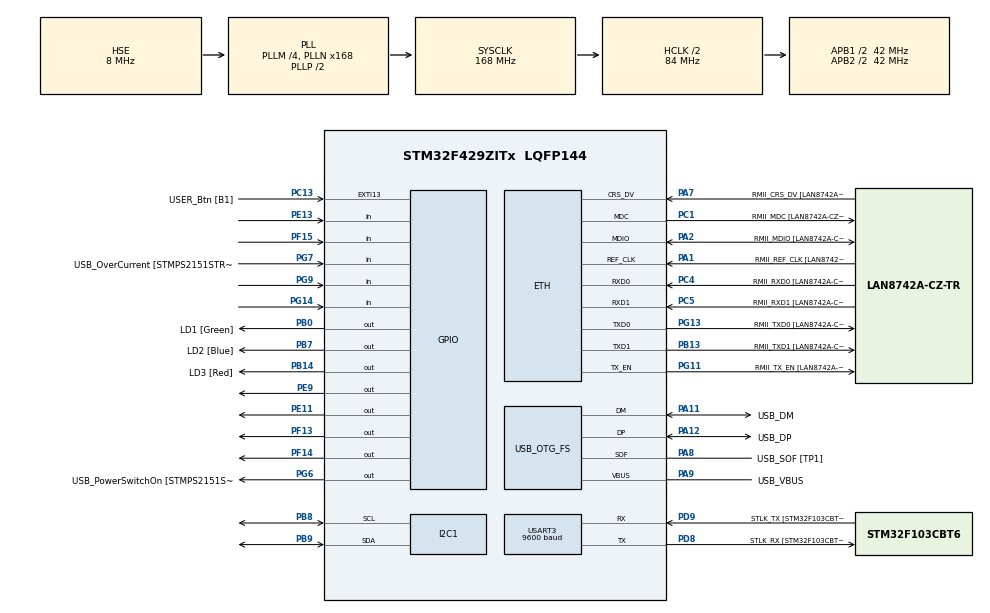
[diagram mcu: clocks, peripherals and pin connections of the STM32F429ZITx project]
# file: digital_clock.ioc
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ETH.MediaInterface=HAL_ETH_RMII_MODE
ETH.PHY_Name=LAN8742A_PHY_ADDRESS
ETH.PHY_Value=0
ETH.PhyAddress=0
Mcu.Family=STM32F4
Mcu.Name=STM32F429ZITx
Mcu.Package=LQFP144
NVIC.PriorityGroup=NVIC_PRIORITYGROUP_4
PA1.GPIO_Label=RMII_REF_CLK [LAN8742A-CZ-TR_REFCLK0]
PA1.Mode=RMII
PA1.Signal=ETH_REF_CLK
PA10.GPIO_Label=USB_ID
PA10.Signal=USB_OTG_FS_ID
PA11.GPIO_Label=USB_DM
PA11.Mode=Device_Only
PA11.Signal=USB_OTG_FS_DM
PA12.GPIO_Label=USB_DP
PA12.Mode=Device_Only
PA12.Signal=USB_OTG_FS_DP
PA13.GPIO_Label=TMS
PA13.Mode=Serial_Wire
PA13.Signal=SYS_JTMS-SWDIO
PA14.GPIO_Label=TCK
PA14.Mode=Serial_Wire
PA14.Signal=SYS_JTCK-SWCLK
PA2.GPIO_Label=RMII_MDIO [LAN8742A-CZ-TR_MDIO]
PA2.Mode=RMII
PA2.Signal=ETH_MDIO
PA7.GPIO_Label=RMII_CRS_DV [LAN8742A-CZ-TR_CRS_DV]
PA7.Mode=RMII
PA7.Signal=ETH_CRS_DV
PA8.GPIO_Label=USB_SOF [TP1]
PA8.Mode=Activate_SOF_FS
PA8.Signal=USB_OTG_FS_SOF
PA9.GPIO_Label=USB_VBUS
PA9.Mode=Activate_VBUS
PA9.Signal=USB_OTG_FS_VBUS
PB0.GPIO_Label=LD1 [Green]
PB0.Signal=GPIO_Output
PB13.GPIO_Label=RMII_TXD1 [LAN8742A-CZ-TR_TXD1]
PB13.Mode=RMII
PB13.Signal=ETH_TXD1
PB14.GPIO_Label=LD3 [Red]
PB14.Signal=GPIO_Output
PB7.GPIO_Label=LD2 [Blue]
PB7.Signal=GPIO_Output
PB8.Mode=I2C
PB8.Signal=I2C1_SCL
PB9.Mode=I2C
PB9.Signal=I2C1_SDA
PC1.GPIO_Label=RMII_MDC [LAN8742A-CZ-TR_MDC]
PC1.Mode=RMII
PC1.Signal=ETH_MDC
PC13.GPIO_Label=USER_Btn [B1]
PC13.Signal=GPXTI13
PC14/OSC32_IN.Signal=RCC_OSC32_IN
PC15/OSC32_OUT.Signal=RCC_OSC32_OUT
PC4.GPIO_Label=RMII_RXD0 [LAN8742A-CZ-TR_RXD0]
PC4.Mode=RMII
PC4.Signal=ETH_RXD0
PC5.GPIO_Label=RMII_RXD1 [LAN8742A-CZ-TR_RXD1]
PC5.Mode=RMII
PC5.Signal=ETH_RXD1
PD8.GPIO_Label=STLK_RX [STM32F103CBT6_PA3]
PD8.Mode=Asynchronous
PD8.Signal=USART3_TX
PD9.GPIO_Label=STLK_TX [STM32F103CBT6_PA2]
PD9.Mode=Asynchronous
PD9.Signal=USART3_RX
PE11.Signal=GPIO_Output
PE13.GPIO_PuPd=GPIO_PULLDOWN
PE13.Signal=GPIO_Input
PE9.Signal=GPIO_Output
PF13.Signal=GPIO_Output
PF14.Signal=GPIO_Output
PF15.GPIO_PuPd=GPIO_PULLDOWN
PF15.Signal=GPIO_Input
PG11.GPIO_Label=RMII_TX_EN [LAN8742A-CZ-TR_TXEN]
PG11.Mode=RMII
PG11.Signal=ETH_TX_EN
PG13.GPIO_Label=RMII_TXD0 [LAN8742A-CZ-TR_TXD0]
PG13.Mode=RMII
PG13.Signal=ETH_TXD0
PG14.GPIO_PuPd=GPIO_PULLDOWN
PG14.Signal=GPIO_Input
PG6.GPIO_Label=USB_PowerSwitchOn [STMPS2151STR_EN]
PG6.Signal=GPIO_Output
PG7.GPIO_Label=USB_OverCurrent [STMPS2151STR_FAULT]
PG7.Signal=GPIO_Input
PG9.GPIO_PuPd=GPIO_PULLDOWN
PG9.Signal=GPIO_Input
PH0/OSC_IN.GPIO_Label=MCO [STM32F103CBT6_PA8]
PH0/OSC_IN.Mode=HSE-External-Oscillator
PH0/OSC_IN.Signal=RCC_OSC_IN
PH1/OSC_OUT.Mode=HSE-External-Oscillator
PH1/OSC_OUT.Signal=RCC_OSC_OUT
ProjectManager.HeapSize=0x200
ProjectManager.StackSize=0x400
ProjectManager.TargetToolchain=STM32CubeIDE
RCC.48MHZClocksFreq_Value=48000000
RCC.AHBCLKDivider=RCC_SYSCLK_DIV2
RCC.AHBFreq_Value=84000000
RCC.APB1CLKDivider=RCC_HCLK_DIV2
RCC.APB1Freq_Value=42000000
RCC.APB1TimFreq_Value=84000000
RCC.APB2CLKDivider=RCC_HCLK_DIV2
RCC.APB2Freq_Value=42000000
RCC.APB2TimFreq_Value=84000000
RCC.CortexFreq_Value=84000000
RCC.HCLKFreq_Value=84000000
RCC.HSE_VALUE=8000000
RCC.HSI_VALUE=16000000
RCC.LSE_VALUE=32768
RCC.PLLM=4
RCC.PLLMUL=RCC_PLL_MUL9
RCC.PLLN=168
RCC.PLLQ=7
RCC.PRESCALERUSB=RCC_USBCLKSOURCE_PLL_DIV1_5
RCC.SYSCLKFreq_VALUE=168000000
RCC.SYSCLKSource=RCC_SYSCLKSOURCE_PLLCLK
RCC.SYSCLKSourceVirtual=RCC_SYSCLKSOURCE_PLLCLK
RCC.USBFreq_Value=48000000
RCC.VCOOutputFreq_Value=336000000
USART3.BaudRate=9600
USART3.VirtualMode=VM_ASYNC
USB_OTG_FS.VirtualMode=Device_Only
board=NUCLEO-F429ZI

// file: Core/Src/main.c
/* USER CODE BEGIN Header */
/**
  ******************************************************************************
  * @file           : main.c
  * @brief          : Main program body
  ******************************************************************************
  * @attention
  *
  * Copyright (c) 2024 STMicroelectronics.
  * All rights reserved.
  *
  * This software is licensed under terms that can be found in the LICENSE file
  * in the root directory of this software component.
  * If no LICENSE file comes with this software, it is provided AS-IS.
  *
  ******************************************************************************
  */
/* USER CODE END Header */
#include <keypad/inc/keypad.h>
#include "main.h"
#include "string.h"

/* USER CODE BEGIN Includes */
#include "LCD.h"
#include "RTC.h"
#include <stdio.h>
/* USER CODE END Includes */

/* USER CODE BEGIN PD */
#define TIME_DIGITS_LENGTH 6
#define DATE_DIGITS_LENGTH 6
/* USER CODE END PD */

ETH_TxPacketConfig TxConfig;
ETH_DMADescTypeDef  DMARxDscrTab[ETH_RX_DESC_CNT]; /* Ethernet Rx DMA Descriptors */
ETH_DMADescTypeDef  DMATxDscrTab[ETH_TX_DESC_CNT]; /* Ethernet Tx DMA Descriptors */

ETH_HandleTypeDef heth;

I2C_HandleTypeDef hi2c1;

UART_HandleTypeDef huart3;

PCD_HandleTypeDef hpcd_USB_OTG_FS;

/* USER CODE BEGIN PV */
static const tick_t ADJUST_TIMEOUT = 60000; // wait a minute
/* USER CODE END PV */

void SystemClock_Config(void);
static void MX_GPIO_Init(void);
static void MX_ETH_Init(void);
static void MX_USART3_UART_Init(void);
static void MX_USB_OTG_FS_PCD_Init(void);
static void MX_I2C1_Init(void);
/* USER CODE BEGIN PFP */
static time_adjust_t get_time_from_keypad(datetime_data_t *);
static void display_datetime(datetime_data_t*);
static bool_t display_config_datetime(datetime_data_t *datetime, uint8_t key);
static void move_cursor_backward(uint8_t *cursor_x, uint8_t *cursor_y, size_t max_positions);
static void move_cursor_forward(uint8_t *cursor_x, uint8_t *cursor_y, size_t max_positions);
/* USER CODE END PFP */

int main(void)
{

  /* MCU Configuration--------------------------------------------------------*/

  /* Reset of all peripherals, Initializes the Flash interface and the Systick. */
  HAL_Init();

  /* Configure the system clock */
  SystemClock_Config();

  /* Initialize all configured peripherals */
  MX_GPIO_Init();
  MX_ETH_Init();
  MX_USART3_UART_Init();
  MX_USB_OTG_FS_PCD_Init();
  MX_I2C1_Init();
  /* USER CODE BEGIN 2 */
  keyboard_hw_t keyboard_hw = {
    {GPIOF, GPIO_PIN_13}, // L1
    {GPIOE, GPIO_PIN_9},  // L2
    {GPIOE, GPIO_PIN_11}, // L3
    {GPIOF, GPIO_PIN_14}, // L4
    {GPIOE, GPIO_PIN_13}, // C1
    {GPIOF, GPIO_PIN_15}, // C2
    {GPIOG, GPIO_PIN_14}, // C3
    {GPIOG, GPIO_PIN_9}   // C4
  };

  keypad_init(keyboard_hw);
  LCD_init(&hi2c1);
  RTC_init(&hi2c1);
  // FSM Initialization
  enum state_t { READ_TIME, DISPLAY_TIME, WAIT_FOR_INPUT, ADJUST_TIME, SAVE_TIME } state = READ_TIME;
  uint8_t key_pressed = '\0';
  datetime_data_t current_datetime = { 0 };
  time_adjust_t adjust_state = TIMEOUT_REACHED;
  /* USER CODE END 2 */

  /* Infinite loop */
  /* USER CODE BEGIN WHILE */
  while (1)
  {
	  keypad_update();

    switch (state) {
      case READ_TIME:
         RTC_read(&current_datetime);
         state = DISPLAY_TIME;
         break;
      case DISPLAY_TIME:
          display_datetime(&current_datetime);
          state = WAIT_FOR_INPUT;
          break;
      case WAIT_FOR_INPUT:
          key_pressed = keypad_get_key();
          state = key_pressed == 'A' ? ADJUST_TIME : READ_TIME;
          break;
      case ADJUST_TIME:
          // trae la hora desde el teclado- mestra la pantalla de ajuste
          adjust_state = get_time_from_keypad(&current_datetime);
          if (adjust_state == READY_FOR_SAVE)
            state = SAVE_TIME;
          else if (adjust_state == ADJUSTING)
            state = ADJUST_TIME;
          else
            state = READ_TIME;
          break;
      case SAVE_TIME:
          RTC_set(&current_datetime);
          state = READ_TIME;
          break;
      default:
          state = READ_TIME;
          break;
    }

    /* USER CODE END WHILE */

  }
}

void SystemClock_Config(void)
{
  RCC_OscInitTypeDef RCC_OscInitStruct = {0};
  RCC_ClkInitTypeDef RCC_ClkInitStruct = {0};

  /** Configure the main internal regulator output voltage
  */
  __HAL_RCC_PWR_CLK_ENABLE();
  __HAL_PWR_VOLTAGESCALING_CONFIG(PWR_REGULATOR_VOLTAGE_SCALE3);

  /** Initializes the RCC Oscillators according to the specified parameters
  * in the RCC_OscInitTypeDef structure.
  */
  RCC_OscInitStruct.OscillatorType = RCC_OSCILLATORTYPE_HSE;
  RCC_OscInitStruct.HSEState = RCC_HSE_ON;
  RCC_OscInitStruct.PLL.PLLState = RCC_PLL_ON;
  RCC_OscInitStruct.PLL.PLLSource = RCC_PLLSOURCE_HSE;
  RCC_OscInitStruct.PLL.PLLM = 4;
  RCC_OscInitStruct.PLL.PLLN = 168;
  RCC_OscInitStruct.PLL.PLLP = RCC_PLLP_DIV2;
  RCC_OscInitStruct.PLL.PLLQ = 7;
  if (HAL_RCC_OscConfig(&RCC_OscInitStruct) != HAL_OK)
  {
    Error_Handler();
  }

  /** Initializes the CPU, AHB and APB buses clocks
  */
  RCC_ClkInitStruct.ClockType = RCC_CLOCKTYPE_HCLK|RCC_CLOCKTYPE_SYSCLK
                              |RCC_CLOCKTYPE_PCLK1|RCC_CLOCKTYPE_PCLK2;
  RCC_ClkInitStruct.SYSCLKSource = RCC_SYSCLKSOURCE_PLLCLK;
  RCC_ClkInitStruct.AHBCLKDivider = RCC_SYSCLK_DIV2;
  RCC_ClkInitStruct.APB1CLKDivider = RCC_HCLK_DIV2;
  RCC_ClkInitStruct.APB2CLKDivider = RCC_HCLK_DIV2;

  if (HAL_RCC_ClockConfig(&RCC_ClkInitStruct, FLASH_LATENCY_2) != HAL_OK)
  {
    Error_Handler();
  }
}

static void MX_ETH_Init(void)
{

   static uint8_t MACAddr[6];

  heth.Instance = ETH;
  MACAddr[0] = 0x00;
  MACAddr[1] = 0x80;
  MACAddr[2] = 0xE1;
  MACAddr[3] = 0x00;
  MACAddr[4] = 0x00;
  MACAddr[5] = 0x00;
  heth.Init.MACAddr = &MACAddr[0];
  heth.Init.MediaInterface = HAL_ETH_RMII_MODE;
  heth.Init.TxDesc = DMATxDscrTab;
  heth.Init.RxDesc = DMARxDscrTab;
  heth.Init.RxBuffLen = 1524;

  if (HAL_ETH_Init(&heth) != HAL_OK)
  {
    Error_Handler();
  }

  memset(&TxConfig, 0 , sizeof(ETH_TxPacketConfig));
  TxConfig.Attributes = ETH_TX_PACKETS_FEATURES_CSUM | ETH_TX_PACKETS_FEATURES_CRCPAD;
  TxConfig.ChecksumCtrl = ETH_CHECKSUM_IPHDR_PAYLOAD_INSERT_PHDR_CALC;
  TxConfig.CRCPadCtrl = ETH_CRC_PAD_INSERT;

}

static void MX_I2C1_Init(void)
{

  hi2c1.Instance = I2C1;
  hi2c1.Init.ClockSpeed = 100000;
  hi2c1.Init.DutyCycle = I2C_DUTYCYCLE_2;
  hi2c1.Init.OwnAddress1 = 0;
  hi2c1.Init.AddressingMode = I2C_ADDRESSINGMODE_7BIT;
  hi2c1.Init.DualAddressMode = I2C_DUALADDRESS_DISABLE;
  hi2c1.Init.OwnAddress2 = 0;
  hi2c1.Init.GeneralCallMode = I2C_GENERALCALL_DISABLE;
  hi2c1.Init.NoStretchMode = I2C_NOSTRETCH_DISABLE;
  if (HAL_I2C_Init(&hi2c1) != HAL_OK)
  {
    Error_Handler();
  }

  /** Configure Analogue filter
  */
  if (HAL_I2CEx_ConfigAnalogFilter(&hi2c1, I2C_ANALOGFILTER_ENABLE) != HAL_OK)
  {
    Error_Handler();
  }

  /** Configure Digital filter
  */
  if (HAL_I2CEx_ConfigDigitalFilter(&hi2c1, 0) != HAL_OK)
  {
    Error_Handler();
  }

}

static void MX_USART3_UART_Init(void)
{

  huart3.Instance = USART3;
  huart3.Init.BaudRate = 9600;
  huart3.Init.WordLength = UART_WORDLENGTH_8B;
  huart3.Init.StopBits = UART_STOPBITS_1;
  huart3.Init.Parity = UART_PARITY_NONE;
  huart3.Init.Mode = UART_MODE_TX_RX;
  huart3.Init.HwFlowCtl = UART_HWCONTROL_NONE;
  huart3.Init.OverSampling = UART_OVERSAMPLING_16;
  if (HAL_UART_Init(&huart3) != HAL_OK)
  {
    Error_Handler();
  }

}

static void MX_USB_OTG_FS_PCD_Init(void)
{

  hpcd_USB_OTG_FS.Instance = USB_OTG_FS;
  hpcd_USB_OTG_FS.Init.dev_endpoints = 4;
  hpcd_USB_OTG_FS.Init.speed = PCD_SPEED_FULL;
  hpcd_USB_OTG_FS.Init.dma_enable = DISABLE;
  hpcd_USB_OTG_FS.Init.phy_itface = PCD_PHY_EMBEDDED;
  hpcd_USB_OTG_FS.Init.Sof_enable = ENABLE;
  hpcd_USB_OTG_FS.Init.low_power_enable = DISABLE;
  hpcd_USB_OTG_FS.Init.lpm_enable = DISABLE;
  hpcd_USB_OTG_FS.Init.vbus_sensing_enable = ENABLE;
  hpcd_USB_OTG_FS.Init.use_dedicated_ep1 = DISABLE;
  if (HAL_PCD_Init(&hpcd_USB_OTG_FS) != HAL_OK)
  {
    Error_Handler();
  }

}

static void MX_GPIO_Init(void)
{
  GPIO_InitTypeDef GPIO_InitStruct = {0};

  /* GPIO Ports Clock Enable */
  __HAL_RCC_GPIOC_CLK_ENABLE();
  __HAL_RCC_GPIOH_CLK_ENABLE();
  __HAL_RCC_GPIOA_CLK_ENABLE();
  __HAL_RCC_GPIOB_CLK_ENABLE();
  __HAL_RCC_GPIOF_CLK_ENABLE();
  __HAL_RCC_GPIOE_CLK_ENABLE();
  __HAL_RCC_GPIOD_CLK_ENABLE();
  __HAL_RCC_GPIOG_CLK_ENABLE();

  /*Configure GPIO pin Output Level */
  HAL_GPIO_WritePin(GPIOB, LD1_Pin|LD3_Pin|LD2_Pin, GPIO_PIN_RESET);

  /*Configure GPIO pin Output Level */
  HAL_GPIO_WritePin(GPIOF, GPIO_PIN_13|GPIO_PIN_14, GPIO_PIN_RESET);

  /*Configure GPIO pin Output Level */
  HAL_GPIO_WritePin(GPIOE, GPIO_PIN_9|GPIO_PIN_11, GPIO_PIN_RESET);

  /*Configure GPIO pin Output Level */
  HAL_GPIO_WritePin(USB_PowerSwitchOn_GPIO_Port, USB_PowerSwitchOn_Pin, GPIO_PIN_RESET);

  /*Configure GPIO pin : USER_Btn_Pin */
  GPIO_InitStruct.Pin = USER_Btn_Pin;
  GPIO_InitStruct.Mode = GPIO_MODE_IT_RISING;
  GPIO_InitStruct.Pull = GPIO_NOPULL;
  HAL_GPIO_Init(USER_Btn_GPIO_Port, &GPIO_InitStruct);

  /*Configure GPIO pins : LD1_Pin LD3_Pin LD2_Pin */
  GPIO_InitStruct.Pin = LD1_Pin|LD3_Pin|LD2_Pin;
  GPIO_InitStruct.Mode = GPIO_MODE_OUTPUT_PP;
  GPIO_InitStruct.Pull = GPIO_NOPULL;
  GPIO_InitStruct.Speed = GPIO_SPEED_FREQ_LOW;
  HAL_GPIO_Init(GPIOB, &GPIO_InitStruct);

  /*Configure GPIO pins : PF13 PF14 */
  GPIO_InitStruct.Pin = GPIO_PIN_13|GPIO_PIN_14;
  GPIO_InitStruct.Mode = GPIO_MODE_OUTPUT_PP;
  GPIO_InitStruct.Pull = GPIO_NOPULL;
  GPIO_InitStruct.Speed = GPIO_SPEED_FREQ_LOW;
  HAL_GPIO_Init(GPIOF, &GPIO_InitStruct);

  /*Configure GPIO pin : PF15 */
  GPIO_InitStruct.Pin = GPIO_PIN_15;
  GPIO_InitStruct.Mode = GPIO_MODE_INPUT;
  GPIO_InitStruct.Pull = GPIO_PULLDOWN;
  HAL_GPIO_Init(GPIOF, &GPIO_InitStruct);

  /*Configure GPIO pins : PE9 PE11 */
  GPIO_InitStruct.Pin = GPIO_PIN_9|GPIO_PIN_11;
  GPIO_InitStruct.Mode = GPIO_MODE_OUTPUT_PP;
  GPIO_InitStruct.Pull = GPIO_NOPULL;
  GPIO_InitStruct.Speed = GPIO_SPEED_FREQ_LOW;
  HAL_GPIO_Init(GPIOE, &GPIO_InitStruct);

  /*Configure GPIO pin : PE13 */
  GPIO_InitStruct.Pin = GPIO_PIN_13;
  GPIO_InitStruct.Mode = GPIO_MODE_INPUT;
  GPIO_InitStruct.Pull = GPIO_PULLDOWN;
  HAL_GPIO_Init(GPIOE, &GPIO_InitStruct);

  /*Configure GPIO pin : USB_PowerSwitchOn_Pin */
  GPIO_InitStruct.Pin = USB_PowerSwitchOn_Pin;
  GPIO_InitStruct.Mode = GPIO_MODE_OUTPUT_PP;
  GPIO_InitStruct.Pull = GPIO_NOPULL;
  GPIO_InitStruct.Speed = GPIO_SPEED_FREQ_LOW;
  HAL_GPIO_Init(USB_PowerSwitchOn_GPIO_Port, &GPIO_InitStruct);

  /*Configure GPIO pin : USB_OverCurrent_Pin */
  GPIO_InitStruct.Pin = USB_OverCurrent_Pin;
  GPIO_InitStruct.Mode = GPIO_MODE_INPUT;
  GPIO_InitStruct.Pull = GPIO_NOPULL;
  HAL_GPIO_Init(USB_OverCurrent_GPIO_Port, &GPIO_InitStruct);

  /*Configure GPIO pins : PG9 PG14 */
  GPIO_InitStruct.Pin = GPIO_PIN_9|GPIO_PIN_14;
  GPIO_InitStruct.Mode = GPIO_MODE_INPUT;
  GPIO_InitStruct.Pull = GPIO_PULLDOWN;
  HAL_GPIO_Init(GPIOG, &GPIO_InitStruct);

}

/* USER CODE BEGIN 4 */

/**
 * @brief Displays current time and date on the LCD.
 *
 * Shows the time on the first line and the date with the day of the week on the second line.
 *
 * @param datetime Pointer to datetime_data_t containing the current time and date.
 * @retval none
 */
static void display_datetime(datetime_data_t *datetime)
{
  if(datetime == NULL) Error_Handler();

	uint8_t week [][7] = {
			"Dom",
			"Lun",
			"Mar",
			"Mie",
			"Jue",
			"Vie",
			"Sab"
	};
    uint8_t buffer[BUFFER_S];

    LCD_set_position_xy(0, 0);
    sprintf((char*)buffer, "%02d:%02d:%02d", datetime->time.hours, datetime->time.minutes, datetime->time.seconds);
    LCD_print_string(buffer);

    LCD_set_position_xy(0, 1);
    sprintf((char*)buffer, "%s %02d/%02d/%02d", week[datetime->date.day - 1], datetime->date.date, datetime->date.month, datetime->date.year);
    LCD_print_string(buffer);
}

/**
 * @brief Moves the cursor forward on the display.
 *
 * Adjusts cursor_x and cursor_y to move forward, wrapping to the next row if needed.
 *
 * @param cursor_x Pointer to horizontal cursor position.
 * @param cursor_y Pointer to vertical cursor position.
 * @param max_positions Maximum number of positions for cursor_x.
 * @retval none
 */
static void move_cursor_forward(uint8_t *cursor_x, uint8_t *cursor_y, size_t max_positions)
{
  if(cursor_x == NULL || cursor_y == NULL || max_positions <= 0) Error_Handler();

    if ((*cursor_x + 1) >= max_positions) {
        *cursor_y = (*cursor_y + 1) % 2;
    }
    *cursor_x = (*cursor_x + 1) % max_positions;
}

/**
 * @brief Moves the cursor backward on the display.
 *
 * Adjusts cursor_x and cursor_y to move backward, wrapping to the previous row if needed.
 *
 * @param cursor_x Pointer to horizontal cursor position.
 * @param cursor_y Pointer to vertical cursor position.
 * @param max_positions Maximum number of positions for cursor_x.
 * @retval none
 */
static void move_cursor_backward(uint8_t *cursor_x, uint8_t *cursor_y, size_t max_positions)
{
  if(cursor_x == NULL || cursor_y == NULL || max_positions <= 0) Error_Handler();

    *cursor_x = (*cursor_x == 0) ? (max_positions - 1) : (*cursor_x - 1);
    if (*cursor_x == (max_positions - 1) && *cursor_y == 0) {
        *cursor_y = 1;
    } else if (*cursor_x == (max_positions - 1) && *cursor_y == 1) {
        *cursor_y = 0;
    }
}

/**
 * @brief Handles time and date adjustment on the LCD.
 *
 * Allows navigation and digit entry using keypad inputs, updating the datetime structure.
 *
 * @param datetime Pointer to datetime_data_t to be configured.
 * @param key Keypad input for navigation and digit entry.
 * @retval true if adjustment is complete, false otherwise.
 */
static bool_t display_config_datetime(datetime_data_t *datetime, uint8_t key)
{
  if(datetime == NULL) Error_Handler();

    uint8_t buffer[BUFFER_S] = {0};
    // Screen positions for digit entry  HH/DD MM/MM  SS/AA
    static uint8_t cursor_positions[] = {6, 7, 9, 10, 12, 13};
    // Temporary array for time: HHMMSS
    static uint8_t time_digits[TIME_DIGITS_LENGTH] = {0};
    // Temporary array for date: DDMMYY
    static uint8_t date_digits[DATE_DIGITS_LENGTH] = {0};
    static uint8_t current_cursor_position_x = 0;
    static uint8_t current_cursor_position_y = 0;
    static bool_t adjustment_started = false;
    bool_t ret = false;

    if (!adjustment_started) {
        // Initialize the configuration screen
        LCD_show_cursor_blink();

        LCD_set_position_xy(0, 0);
        sprintf((char*)buffer, "Conf. %02d:%02d:%02d", datetime->time.hours, datetime->time.minutes, datetime->time.seconds);
        LCD_print_string(buffer);

        LCD_set_position_xy(0, 1);
        sprintf((char*)buffer, "      %02d/%02d/%02d", datetime->date.date, datetime->date.month, datetime->date.year);
        LCD_print_string(buffer);

        // Initialize temporary arrays
        time_digits[0] = datetime->time.hours / 10;
        time_digits[1] = datetime->time.hours % 10;
        time_digits[2] = datetime->time.minutes / 10;
        time_digits[3] = datetime->time.minutes % 10;
        time_digits[4] = datetime->time.seconds / 10;
        time_digits[5] = datetime->time.seconds % 10;

        date_digits[0] = datetime->date.date / 10;
        date_digits[1] = datetime->date.date % 10;
        date_digits[2] = datetime->date.month / 10;
        date_digits[3] = datetime->date.month % 10;
        date_digits[4] = datetime->date.year / 10;
        date_digits[5] = datetime->date.year % 10;

        adjustment_started = true;
    }

    // Set cursor position
    LCD_set_position_xy(cursor_positions[current_cursor_position_x], current_cursor_position_y);

    // Navigation and digit entry
    switch (key) {
        case '*':
            move_cursor_backward(&current_cursor_position_x, &current_cursor_position_y, sizeof(cursor_positions));
            break;
        case '#':
            move_cursor_forward(&current_cursor_position_x, &current_cursor_position_y, sizeof(cursor_positions));
            break;
        // If key is equal to '+', it means the configuration menu must be restarted.
        case '+':
        case 'A':
            adjustment_started = false;
            current_cursor_position_x = 0;
            current_cursor_position_y = 0;
            ret = (key != '+');
            break;
    }

    if (key >= '0' && key <= '9') {
        // ASCII to Number
        uint8_t digit = key - '0';
        LCD_print_char(key);

        // Fill temporary arrays
        if (current_cursor_position_y == 0) {
            time_digits[current_cursor_position_x] = digit;
        } else {
            date_digits[current_cursor_position_x] = digit;
        }

        move_cursor_forward(&current_cursor_position_x, &current_cursor_position_y, sizeof(cursor_positions));
    }

    // Update datetime structure if adjustment is complete
    if (ret) {
        datetime->time.hours = (time_digits[0] * 10) + time_digits[1];
        datetime->time.minutes = (time_digits[2] * 10) + time_digits[3];
        datetime->time.seconds = (time_digits[4] * 10) + time_digits[5];

        datetime->date.date = (date_digits[0] * 10) + date_digits[1];
        datetime->date.month = (date_digits[2] * 10) + date_digits[3];
        datetime->date.year = (date_digits[4] * 10) + date_digits[5];

        // Adjust to valid values
        RTC_validate_datetime(datetime);
        RTC_calculate_day_of_week(datetime);
    }

    return ret;
}

/**
 * @brief Manages time and date adjustment through the keypad.
 *
 * Handles timeout and determines when the adjustment is ready to be saved.
 *
 * @param data_time_struct Pointer to datetime_data_t to be adjusted.
 * @retval time_adjust_t Status indicating adjustment progress or timeout.
 */
static time_adjust_t get_time_from_keypad(datetime_data_t *data_time_struct)
{
  if(data_time_struct == NULL) Error_Handler();

  static delay_t timeout;
  static bool_t delay_was_initialized = false;
  time_adjust_t ret = ADJUSTING;
  uint8_t key = keypad_get_key();

  if(!delay_was_initialized || key != '\0')
  {
    DelayInit(&timeout,ADJUST_TIMEOUT);
    delay_was_initialized = true;
  }
  if(DelayRead(&timeout)){
    ret = TIMEOUT_REACHED;
    key = '+';
  }

  if(display_config_datetime(data_time_struct, key)){
    ret = READY_FOR_SAVE;
    delay_was_initialized = false;
  }

  if(ret != ADJUSTING)
    LCD_clear();

  return ret;
}
/* USER CODE END 4 */

void Error_Handler(void)
{
  __disable_irq();
  while (1)
  {
  }
}
